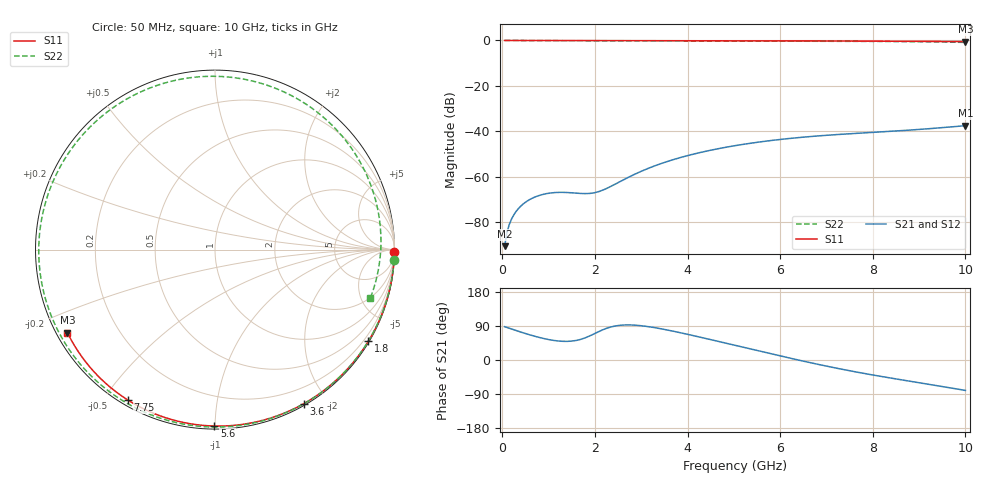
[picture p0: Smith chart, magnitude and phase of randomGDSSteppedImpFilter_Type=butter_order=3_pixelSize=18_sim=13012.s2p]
! freq	dB(S11)	phase(S11)	dB(S12)	phase(S12)
!  dB(S21)	phase(S21)	dB(S22)	phase(S22)
!S-par simulation data
#  GHz  S  DB  R 50
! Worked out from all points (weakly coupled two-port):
!   200 points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, 50 MHz to 10 GHz, reference 50 ohm
!   highest |S21| = -37.48 dB at 10 GHz (marker M1); lowest = -90.5 dB at 50 MHz (marker M2)
!   lowest |S11| = -0.5 dB at 10 GHz (marker M3), VSWR 34.33, Z = 1.56 - j13.1 ohm
!   |S11| at or under -10 dB: nowhere
!   |S22| runs from -0.9 to 0.0 dB; largest |S21 - S12| = 0
!   S11 on the Smith chart (normalised r, x): 50 MHz: open; 1.8 GHz: 0.03, -3.63; 3.6 GHz: 0.02, -1.73; 5.6 GHz: 0.02, -1.00; 7.75 GHz: 0.02, -0.58; 10 GHz: 0.03, -0.26
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0.05  -0.00 -0.9  -90.48 87.9  -90.48 87.9  -0.00 -3.4
0.15  -0.00 -2.6  -81.00 83.8  -81.00 83.8  -0.01 -10.0
0.3  -0.01 -5.2  -75.16 77.6  -75.16 77.6  -0.03 -19.9
0.5  -0.01 -8.7  -71.16 69.8  -71.16 69.8  -0.05 -32.9
0.9  -0.02 -15.6  -67.60 56.5  -67.60 56.5  -0.07 -57.5
1.3  -0.03 -22.4  -66.81 49.3  -66.81 49.3  -0.09 -80.0
1.75  -0.04 -30.0  -67.35 56.7  -67.35 56.7  -0.11 -102.5
1.8  -0.04 -30.8  -67.36 59.0  -67.36 59.0  -0.11 -104.8
2.15  -0.05 -36.7  -66.00 78.7  -66.00 78.7  -0.12 -120.2
2.6  -0.06 -44.1  -61.47 92.2  -61.47 92.2  -0.13 -138.1
3.4  -0.08 -57.0  -54.36 83.0  -54.36 83.0  -0.15 -166.0
3.6  -0.08 -60.1  -53.00 78.3  -53.00 78.3  -0.15 -172.4
4.3  -0.10 -71.0  -49.16 59.4  -49.16 59.4  -0.17 166.2
5.05  -0.13 -82.2  -46.19 37.9  -46.19 37.9  -0.20 144.3
5.6  -0.15 -90.2  -44.53 22.0  -44.53 22.0  -0.23 128.3
6.15  -0.18 -98.1  -43.22 6.5  -43.22 6.5  -0.26 112.1
6.7  -0.21 -105.8  -42.18 -8.4  -42.18 -8.4  -0.29 95.5
7.25  -0.24 -113.4  -41.36 -22.4  -41.36 -22.4  -0.33 78.3
7.75  -0.28 -120.2  -40.73 -34.1  -40.73 -34.1  -0.38 62.1
8.35  -0.33 -128.3  -40.01 -46.9  -40.01 -46.9  -0.45 42.0
9.2  -0.41 -139.7  -38.84 -63.7  -38.84 -63.7  -0.61 12.1
10  -0.51 -150.6  -37.48 -80.4  -37.48 -80.4  -0.85 -17.3
